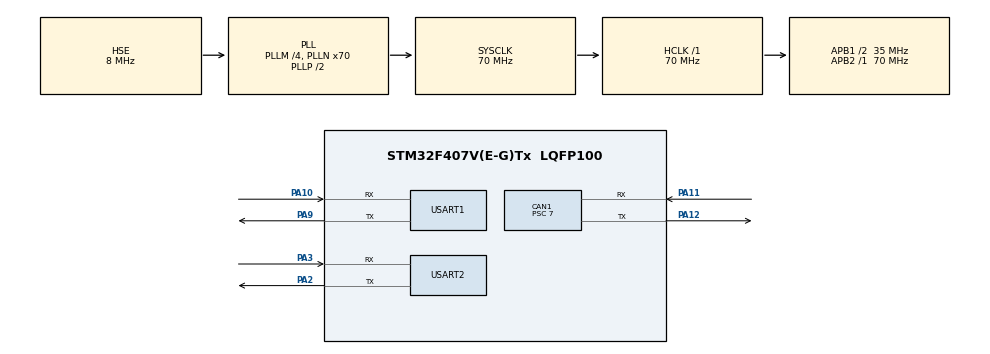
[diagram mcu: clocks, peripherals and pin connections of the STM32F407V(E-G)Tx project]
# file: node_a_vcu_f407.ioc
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CAN1.BS1=CAN_BS1_7TQ
CAN1.BS2=CAN_BS2_2TQ
CAN1.CalculateBaudRate=500000
CAN1.CalculateTimeBit=2000
CAN1.CalculateTimeQuantum=200.0
CAN1.Mode=CAN_MODE_NORMAL
CAN1.Prescaler=7
FREERTOS.Tasks01=defaultTask,24,128,StartDefaultTask,Default,NULL,Dynamic,NULL,NULL
FREERTOS.configCHECK_FOR_STACK_OVERFLOW=2
FREERTOS.configMAX_CO_ROUTINE_PRIORITIES=7
FREERTOS.configTOTAL_HEAP_SIZE=20480
FREERTOS.configUSE_MALLOC_FAILED_HOOK=1
FREERTOS.configUSE_NEWLIB_REENTRANT=1
Mcu.Family=STM32F4
Mcu.Name=STM32F407V(E-G)Tx
Mcu.Package=LQFP100
NVIC.PriorityGroup=NVIC_PRIORITYGROUP_4
NVIC.TIM6_DAC_IRQn=true\:15\:0\:false\:false\:true\:false\:false\:true\:true
NVIC.TimeBase=TIM6_DAC_IRQn
NVIC.TimeBaseIP=TIM6
PA10.Mode=Asynchronous
PA10.Signal=USART1_RX
PA11.Mode=CAN_Activate
PA11.Signal=CAN1_RX
PA12.Mode=CAN_Activate
PA12.Signal=CAN1_TX
PA13.Mode=Serial_Wire
PA13.Signal=SYS_JTMS-SWDIO
PA14.Mode=Serial_Wire
PA14.Signal=SYS_JTCK-SWCLK
PA2.Mode=Asynchronous
PA2.Signal=USART2_TX
PA3.Mode=Asynchronous
PA3.Signal=USART2_RX
PA9.Mode=Asynchronous
PA9.Signal=USART1_TX
PH0-OSC_IN.Mode=HSE-External-Oscillator
PH0-OSC_IN.Signal=RCC_OSC_IN
PH1-OSC_OUT.Mode=HSE-External-Oscillator
PH1-OSC_OUT.Signal=RCC_OSC_OUT
ProjectManager.HeapSize=0x200
ProjectManager.StackSize=0x400
ProjectManager.TargetToolchain=MDK-ARM V5.32
RCC.48MHZClocksFreq_Value=35000000
RCC.AHBFreq_Value=70000000
RCC.APB1CLKDivider=RCC_HCLK_DIV2
RCC.APB1Freq_Value=35000000
RCC.APB1TimFreq_Value=70000000
RCC.APB2Freq_Value=70000000
RCC.APB2TimFreq_Value=70000000
RCC.CortexFreq_Value=70000000
RCC.HCLKFreq_Value=70000000
RCC.HSE_VALUE=8000000
RCC.HSI_VALUE=16000000
RCC.LSE_VALUE=32768
RCC.PLLM=4
RCC.PLLN=70
RCC.PLLSourceVirtual=RCC_PLLSOURCE_HSE
RCC.SYSCLKFreq_VALUE=70000000
RCC.SYSCLKSource=RCC_SYSCLKSOURCE_PLLCLK
RCC.VCOOutputFreq_Value=140000000
USART1.VirtualMode=VM_ASYNC
USART2.VirtualMode=VM_ASYNC
VP_FREERTOS_VS_CMSIS_V2.Mode=CMSIS_V2
VP_SYS_VS_tim6.Mode=TIM6
board=custom

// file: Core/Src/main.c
/* USER CODE BEGIN Header */
/**
  ******************************************************************************
  * @file           : main.c
  * @brief          : Main program body
  ******************************************************************************
  * @attention
  *
  * Copyright (c) 2026 STMicroelectronics.
  * All rights reserved.
  *
  * This software is licensed under terms that can be found in the LICENSE file
  * in the root directory of this software component.
  * If no LICENSE file comes with this software, it is provided AS-IS.
  *
  ******************************************************************************
  */
/* USER CODE END Header */
#include "main.h"
#include "cmsis_os.h"
#include "can.h"
#include "usart.h"
#include "gpio.h"

void SystemClock_Config(void);
void MX_FREERTOS_Init(void);

int main(void)
{

  /* MCU Configuration--------------------------------------------------------*/

  /* Reset of all peripherals, Initializes the Flash interface and the Systick. */
  HAL_Init();

  /* Configure the system clock */
  SystemClock_Config();

  /* Initialize all configured peripherals */
  MX_GPIO_Init();
  MX_CAN1_Init();
  MX_USART1_UART_Init();
  MX_USART2_UART_Init();      /* USART2 给 SLCAN 网关用（PA2/PA3） */

  /* Init scheduler */
  osKernelInitialize();

  /* Call init function for freertos objects (in cmsis_os2.c) */
  MX_FREERTOS_Init();

  /* Start scheduler */
  osKernelStart();

  /* We should never get here as control is now taken by the scheduler */

  /* Infinite loop */
  while (1)
  {

  }
}

void SystemClock_Config(void)
{
  RCC_OscInitTypeDef RCC_OscInitStruct = {0};
  RCC_ClkInitTypeDef RCC_ClkInitStruct = {0};

  /** Configure the main internal regulator output voltage
  */
  __HAL_RCC_PWR_CLK_ENABLE();
  __HAL_PWR_VOLTAGESCALING_CONFIG(PWR_REGULATOR_VOLTAGE_SCALE1);

  /** Initializes the RCC Oscillators according to the specified parameters
  * in the RCC_OscInitTypeDef structure.
  */
  RCC_OscInitStruct.OscillatorType = RCC_OSCILLATORTYPE_HSE;
  RCC_OscInitStruct.HSEState = RCC_HSE_ON;
  RCC_OscInitStruct.PLL.PLLState = RCC_PLL_ON;
  RCC_OscInitStruct.PLL.PLLSource = RCC_PLLSOURCE_HSE;
  RCC_OscInitStruct.PLL.PLLM = 4;
  RCC_OscInitStruct.PLL.PLLN = 70;
  RCC_OscInitStruct.PLL.PLLP = RCC_PLLP_DIV2;
  RCC_OscInitStruct.PLL.PLLQ = 4;
  if (HAL_RCC_OscConfig(&RCC_OscInitStruct) != HAL_OK)
  {
    Error_Handler();
  }

  /** Initializes the CPU, AHB and APB buses clocks
  */
  RCC_ClkInitStruct.ClockType = RCC_CLOCKTYPE_HCLK|RCC_CLOCKTYPE_SYSCLK
                              |RCC_CLOCKTYPE_PCLK1|RCC_CLOCKTYPE_PCLK2;
  RCC_ClkInitStruct.SYSCLKSource = RCC_SYSCLKSOURCE_PLLCLK;
  RCC_ClkInitStruct.AHBCLKDivider = RCC_SYSCLK_DIV1;
  RCC_ClkInitStruct.APB1CLKDivider = RCC_HCLK_DIV2;
  RCC_ClkInitStruct.APB2CLKDivider = RCC_HCLK_DIV1;

  if (HAL_RCC_ClockConfig(&RCC_ClkInitStruct, FLASH_LATENCY_2) != HAL_OK)
  {
    Error_Handler();
  }
}

void HAL_TIM_PeriodElapsedCallback(TIM_HandleTypeDef *htim)
{
  if (htim->Instance == TIM6) {
    HAL_IncTick();
  }
}

void Error_Handler(void)
{
  __disable_irq();
  while (1)
  {
  }
}

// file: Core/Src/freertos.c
/* USER CODE BEGIN Header */
/**
  ******************************************************************************
  * File Name          : freertos.c
  * Description        : Code for freertos applications
  ******************************************************************************
  * @attention
  *
  * Copyright (c) 2026 STMicroelectronics.
  * All rights reserved.
  *
  * This software is licensed under terms that can be found in the LICENSE file
  * in the root directory of this software component.
  * If no LICENSE file comes with this software, it is provided AS-IS.
  *
  ******************************************************************************
  */
/* USER CODE END Header */

#include "FreeRTOS.h"
#include "task.h"
#include "main.h"
#include "cmsis_os.h"

/* USER CODE BEGIN Includes */
#include "app_can.h"
#include "app_slcan.h"
#include "oled.h"
#include "usart.h"
#include <string.h>
/* USER CODE END Includes */

/* USER CODE BEGIN Variables */

/* OLED 显示任务：优先级最低，参数不变时不做任何刷新 */
osThreadId_t displayTaskHandle;
const osThreadAttr_t displayTask_attributes = {
  .name = "displayTask",
  .stack_size = 512 * 4,
  .priority = (osPriority_t) osPriorityLow,
};
/* USER CODE END Variables */
/* Definitions for defaultTask */
osThreadId_t defaultTaskHandle;
const osThreadAttr_t defaultTask_attributes = {
  .name = "defaultTask",
  .stack_size = 128 * 4,
  .priority = (osPriority_t) osPriorityNormal,
};

/* USER CODE BEGIN FunctionPrototypes */
osThreadId_t canTxTaskHandle;
const osThreadAttr_t canTxTask_attributes = {
  .name = "canTxTask",
  .stack_size = 256 * 4,
  .priority = (osPriority_t) osPriorityNormal,
};

osThreadId_t canRxTaskHandle;
const osThreadAttr_t canRxTask_attributes = {
  .name = "canRxTask",
  .stack_size = 256 * 4,
  .priority = (osPriority_t) osPriorityAboveNormal,
};

/* SLCAN 网关任务：把 F407 变成一块"自制 CANable"，Linux 侧挂成 can0 */
osThreadId_t slcanTaskHandle;
const osThreadAttr_t slcanTask_attributes = {
  .name = "slcanTask",
  .stack_size = 512 * 4,
  /* 优先级放低：串口是阻塞式发送，不能让网关任务拖慢 CAN 的 20ms 周期 */
  .priority = (osPriority_t) osPriorityLow,
};
/* USER CODE END FunctionPrototypes */

void StartDefaultTask(void *argument);
void StartDisplayTask(void *argument);

void MX_FREERTOS_Init(void); /* (MISRA C 2004 rule 8.1) */

/* Hook prototypes */
void vApplicationStackOverflowHook(xTaskHandle xTask, signed char *pcTaskName);
void vApplicationMallocFailedHook(void);

/* USER CODE BEGIN 4 */
void vApplicationStackOverflowHook(xTaskHandle xTask, signed char *pcTaskName)
{
   /* Run time stack overflow checking is performed if
   configCHECK_FOR_STACK_OVERFLOW is defined to 1 or 2. This hook function is
   called if a stack overflow is detected. */
}
/* USER CODE END 4 */

/* USER CODE BEGIN 5 */
void vApplicationMallocFailedHook(void)
{
   /* vApplicationMallocFailedHook() will only be called if
   configUSE_MALLOC_FAILED_HOOK is set to 1 in FreeRTOSConfig.h. It is a hook
   function that will get called if a call to pvPortMalloc() fails.
   pvPortMalloc() is called internally by the kernel whenever a task, queue,
   timer or semaphore is created. It is also called by various parts of the
   demo application. If heap_1.c or heap_2.c are used, then the size of the
   heap available to pvPortMalloc() is defined by configTOTAL_HEAP_SIZE in
   FreeRTOSConfig.h, and the xPortGetFreeHeapSize() API function can be used
   to query the size of free heap space that remains (although it does not
   provide information on how the remaining heap might be fragmented). */
}
/* USER CODE END 5 */

void MX_FREERTOS_Init(void) {
  /* USER CODE BEGIN Init */
	AppCan_Init();
  /* USER CODE END Init */

  /* Create the thread(s) */
  /* creation of defaultTask */
  defaultTaskHandle = osThreadNew(StartDefaultTask, NULL, &defaultTask_attributes);

  /* USER CODE BEGIN RTOS_THREADS */
	canTxTaskHandle = osThreadNew(AppCan_TaskCanTx, NULL, &canTxTask_attributes);
	canRxTaskHandle = osThreadNew(AppCan_TaskCanRx, NULL, &canRxTask_attributes);
	displayTaskHandle = osThreadNew(StartDisplayTask, NULL, &displayTask_attributes);
	slcanTaskHandle = osThreadNew(AppSlcan_Task, NULL, &slcanTask_attributes);
  /* USER CODE END RTOS_THREADS */

}

void StartDefaultTask(void *argument)
{
  for(;;)
  {
    osDelay(1);
  }
}

/* 临时诊断用：直接把一行字打到串口上 */
static void app_display_print(const char *text)
{
  (void)HAL_UART_Transmit(&huart1, (uint8_t *)text,
                          (uint16_t)strlen(text), 100U);
}

/* 模式名字固定 7 个字符宽，避免 "STANDBY" 换成 "RUN" 时屏上留下残字 */
static const char *app_display_mode_text(uint8_t mode)
{
  switch (mode) {
  case 0:  return "OFF    ";
  case 1:  return "STANDBY";
  case 2:  return "RUN    ";
  case 3:  return "FAULT  ";
  default: return "UNKNOWN";
  }
}

/**
  * @brief  第 7 步：OLED 显示 VCU 参数
  *         第1行 节点名 / 第2行 模式+故障位 / 第3行 车速 / 第4行 电压
  */
void StartDisplayTask(void *argument)
{
  /* USER CODE BEGIN StartDisplayTask */
  uint8_t  last_mode  = 0xFFU;
  uint8_t  last_fault = 0xFFU;
  uint16_t last_speed = 0xFFFFU;
  uint16_t last_volt  = 0xFFFFU;

  (void)argument;

  /* 开机自检：先探测 OLED 有没有应答。
   *   有应答 -> 接线和供电没问题，屏不亮就要往初始化和显示内容上找
   *   没应答 -> 查 VCC/GND 有没有接好、SCL 是不是 PB6、SDA 是不是 PB7，
   *             以及模块的 I2C 地址是不是 0x78（有的模块是 0x7A） */
  if (OLED_Probe(0x78U) != 0U) {
    app_display_print("OLED probe: ACK at 0x78 (OK)\r\n");
  } else if (OLED_Probe(0x7AU) != 0U) {
    app_display_print("OLED probe: ACK at 0x7A, change 0x78 to 0x7A in oled.c\r\n");
  } else {
    app_display_print("OLED probe: NO ACK at 0x78/0x7A, check VCC/GND/SCL/SDA\r\n");
  }

  OLED_Init();     /* 内部包含了上电延时和 I2C 引脚初始化 */

  /* 开机自检：整屏点亮 0.3 秒。
   * 上电时能看见整屏发白 -> 模块、供电、接线、时序全都是好的
   * 连白屏都看不见     -> 是硬件侧的问题，不用再折腾代码 */
  OLED_Fill(0xFFU);
  osDelay(300U);

  OLED_Clear();

  for(;;)
  {
    uint8_t  mode  = AppCan_GetVcuMode();
    uint8_t  fault = AppCan_GetVcuFaultFlags();
    uint16_t speed = AppCan_GetVcuSpeedX10();
    uint16_t volt  = AppCan_GetVcuVoltageX100();

    /* 软件 I2C 刷一次屏要好几毫秒，参数没变就什么都不做 */
    if ((mode != last_mode) || (fault != last_fault) ||
        (speed != last_speed) || (volt != last_volt))
    {
      last_mode  = mode;
      last_fault = fault;
      last_speed = speed;
      last_volt  = volt;

      /* 第1行：这是哪块板子 */
      OLED_ShowString(1, 1, "VCU  STM32F407");

      /* 第2行：工作模式 + 故障标志位 */
      OLED_ShowString(2, 1, "MD:");
      OLED_ShowString(2, 4, (char *)app_display_mode_text(mode));
      OLED_ShowString(2, 12, "F:");
      OLED_ShowHexNum(2, 14, fault, 2);

      /* 第3行：车速，显示成 12.3km/h */
      OLED_ShowString(3, 1, "SPD:");
      OLED_ShowNum(3, 5, speed / 10U, 2);
      OLED_ShowChar(3, 7, '.');
      OLED_ShowNum(3, 8, speed % 10U, 1);
      OLED_ShowString(3, 9, "km/h");

      /* 第4行：电池电压，显示成 24.50V */
      OLED_ShowString(4, 1, "BAT:");
      OLED_ShowNum(4, 5, volt / 100U, 2);
      OLED_ShowChar(4, 7, '.');
      OLED_ShowNum(4, 8, volt % 100U, 2);
      OLED_ShowString(4, 10, "V");
    }

    osDelay(200);
  }
  /* USER CODE END StartDisplayTask */
}
